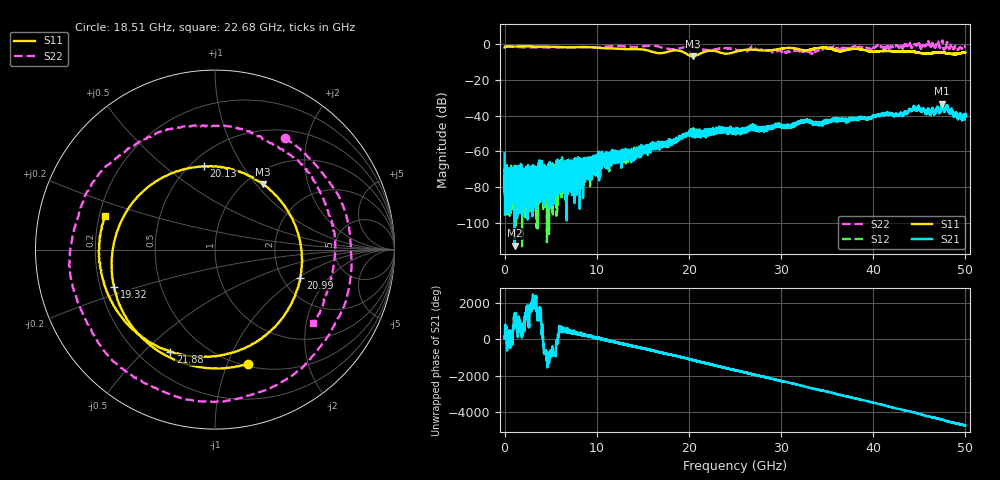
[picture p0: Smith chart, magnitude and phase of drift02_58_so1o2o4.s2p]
!Created with skrf (http://scikit-rf.org).
# Hz S RI R 50.0
!freq ReS11 ImS11 ReS21 ImS21 ReS12 ImS12 ReS22 ImS22
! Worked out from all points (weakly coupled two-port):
!   10001 points, 300 kHz to 50 GHz, reference 50 ohm
!   highest |S21| = -33.41 dB at 47.49 GHz (marker M1); lowest = -112.6 dB at 1.1 GHz (marker M2)
!   lowest |S11| = -6.9 dB at 20.44 GHz (marker M3), VSWR 2.64, Z = 59.6 + j54.3 ohm
!   |S11| at or under -10 dB: nowhere
!   |S22| runs from -5.3 to 1.9 dB; largest |S21 - S12| = 0.003
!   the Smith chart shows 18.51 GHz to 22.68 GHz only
!   S11 on the Smith chart (normalised r, x): 18.51 GHz: 0.53, -1.19; 19.32 GHz: 0.26, -0.17; 20.13 GHz: 0.58, +0.69; 20.99 GHz: 2.51, -1.04; 21.88 GHz: 0.33, -0.60; 22.68 GHz: 0.22, +0.14
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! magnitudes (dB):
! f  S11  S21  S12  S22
! 300 kHz  -2.1  -61.2  -71.4  -1.3
! 255.3 MHz  -1.4  -75.8  -81.0  -1.4
! 1.1 GHz  -1.5  -112.6  -73.5  -1.6
! 4.3 GHz  -1.6  -76.7  -82.2  -2.0
! 8.335 GHz  -1.7  -68.4  -66.7  -1.9
! 16.67 GHz  -5.2  -55.9  -55.9  -1.5
! 18.51 GHz  -3.6  -54.7  -53.7  -2.7
! 19.32 GHz  -4.4  -52.9  -52.1  -2.1
! 20.13 GHz  -6.6  -48.7  -49.3  -1.5
! 20.44 GHz  -6.9  -49.8  -49.0  -1.7
! 20.99 GHz  -6.0  -51.2  -48.8  -2.2
! 21.88 GHz  -4.1  -48.6  -48.6  -3.4
! 22.68 GHz  -3.9  -50.7  -49.5  -3.3
! 25 GHz  -4.5  -47.7  -48.4  -3.2
! 26.11 GHz  -3.3  -48.5  -48.5  -4.3
! 26.91 GHz  -3.2  -45.2  -47.3  -1.7
! 28.07 GHz  -3.7  -47.1  -47.7  -3.4
! 33.34 GHz  -3.0  -43.7  -43.6  -5.1
! 34.89 GHz  -2.2  -43.4  -43.3  -2.1
! 41.67 GHz  -3.9  -39.4  -39.2  -2.0
! 47.49 GHz  -4.8  -33.4  -34.0  1.6
! 50 GHz  -4.8  -39.2  -40.3  -1.5
